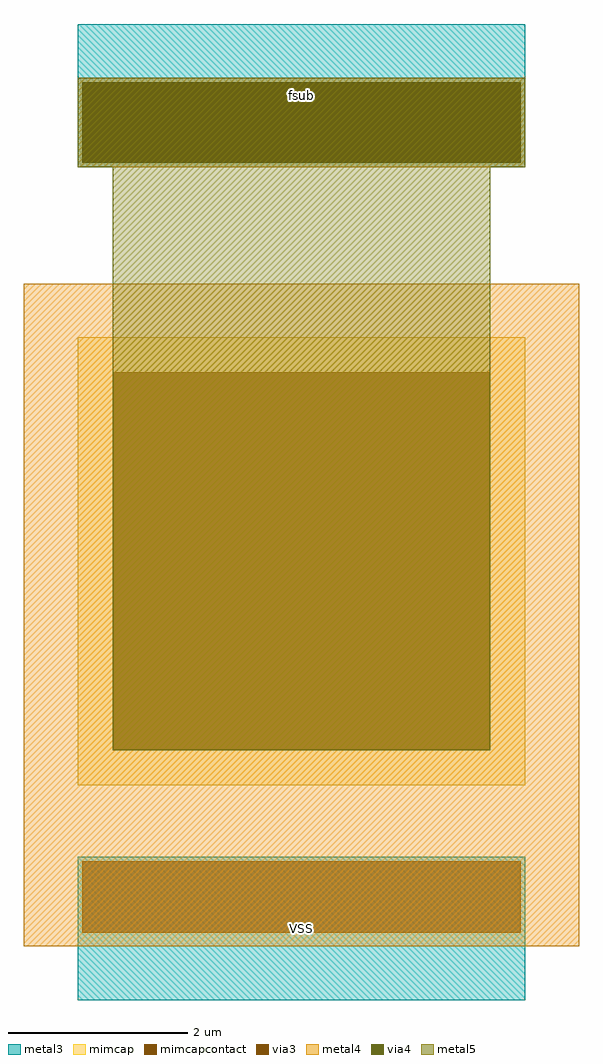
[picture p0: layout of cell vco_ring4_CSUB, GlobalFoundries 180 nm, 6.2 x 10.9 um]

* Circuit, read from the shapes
.subckt vco_ring4_CSUB fsub VSS
XC1 fsub VSS cap_mim_2f0fF c_width=5u c_length=5u
.ends

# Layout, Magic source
magic
tech gf180mcuD
magscale 1 10
<< metal3 >>
rect 0 -340 1000 -160
rect 0 1380 1000 1580
rect 0 1380 1000 1700
rect 0 1380 1000 1700
rect 0 -480 1000 -160
rect 0 -480 1000 -160
<< metal4 >>
rect -120 -360 1120 1120
rect 0 -340 1000 -160
rect 0 1380 1000 1580
rect 0 1380 1000 1580
<< mimcap >>
rect 0 0 1000 1000
<< metal5 >>
rect 78 78 922 1480
rect 0 1380 1000 1580
rect 0 1380 1000 1580
<< via3 >>
rect 10 -330 990 -170
rect 10 1390 990 1570
<< via4 >>
rect 10 1390 990 1570
<< mimcapcontact >>
rect 78 78 922 922
<< labels >>
flabel metal3 s 0 1380 1000 1700 0 FreeSans 80 0 0 0 fsub
port 1 nsew signal bidirectional
flabel metal3 s 0 -480 1000 -160 0 FreeSans 80 0 0 0 VSS
port 2 nsew signal bidirectional
<< end >>
